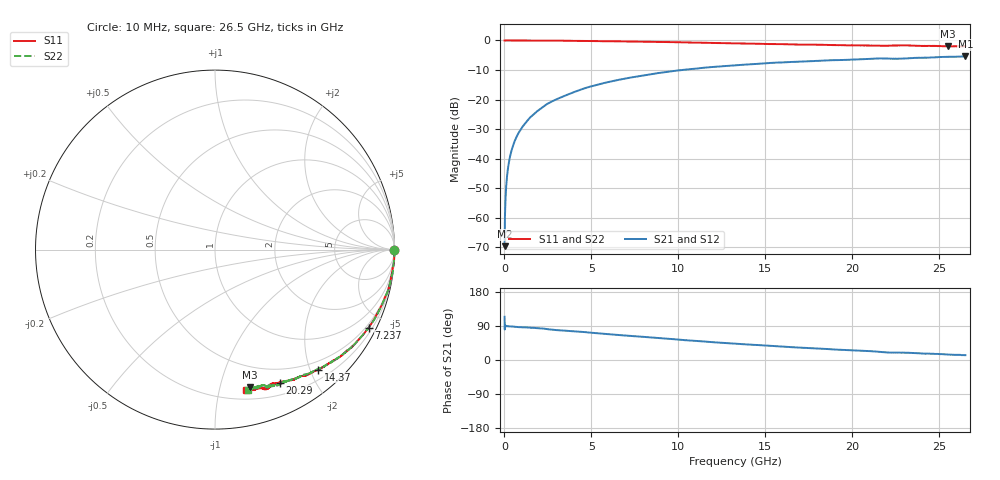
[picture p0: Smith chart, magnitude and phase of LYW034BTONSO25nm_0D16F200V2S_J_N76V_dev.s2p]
!Keysight Technologies,N5222B,MY61253708,A.15.00.15
!Date: Wednesday, June 19, 2024 09:23:10
!Correction: S11(C  2-Port  )
!S21(C  2-Port  )
!S12(C  2-Port  )
!S22(C  2-Port  )
!S2P File: Measurements: S11, S21, S12, S22:
# Hz S  RI  R 50
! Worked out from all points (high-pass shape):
!   2651 points, 10 MHz to 26.5 GHz, reference 50 ohm
!   highest |S21| = -5.37 dB at 26.5 GHz (marker M1); lowest = -69.6 dB at 10 MHz (marker M2)
!   |S21| within 3 dB of the highest: 13.29 GHz to end of sweep
!   lowest |S11| = -2.0 dB at 25.5 GHz (marker M3), VSWR 8.56, Z = 15.1 - j61.9 ohm
!   |S11| at or under -10 dB: nowhere
!   |S22| runs from -2.0 to 0.0 dB; largest |S21 - S12| = 0.0069
!   S11 on the Smith chart (normalised r, x): 10 MHz: open; 7.237 GHz: 0.37, -4.15; 14.37 GHz: 0.35, -2.13; 20.29 GHz: 0.33, -1.55; 26.5 GHz: 0.28, -1.21
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1e7  0.9985 -0.00236  -0.000135 0.000303  -7.8e-05 0.000374  0.9985 -0.000965
6.997736e7  1 -0.00522  4.85e-05 0.00232  2.86e-05 0.00239  0.9996 -0.00487
1.599434e8  0.9999 -0.0116  7.82e-05 0.00541  6.25e-05 0.00544  0.9996 -0.0109
1.999283e8  0.9999 -0.0139  0.000105 0.00675  0.000105 0.00679  0.9996 -0.0133
2.599057e8  0.9995 -0.0182  0.000181 0.00873  0.000149 0.00883  0.9995 -0.0174
3.598679e8  0.9993 -0.025  0.000289 0.0121  0.000314 0.0123  0.9993 -0.0244
4.898189e8  0.9988 -0.0337  0.000554 0.0165  0.000533 0.0166  0.9989 -0.0328
6.497585e8  0.9984 -0.0442  0.000954 0.0218  0.000948 0.022  0.9983 -0.0433
8.49683e8  0.9979 -0.0575  0.00163 0.0284  0.00163 0.0287  0.9977 -0.0574
1.469449e9  0.9902 -0.1005  0.00397 0.0494  0.00404 0.0498  0.9928 -0.0969
2.349117e9  0.9809 -0.1551  0.0107 0.0797  0.0109 0.0804  0.9821 -0.1558
3.208792e9  0.969 -0.2105  0.022 0.1057  0.0223 0.1064  0.9688 -0.2103
4.428332e9  0.9402 -0.284  0.0399 0.1437  0.0404 0.1447  0.9414 -0.2821
7.237272e9  0.8563 -0.4342  0.1044 0.2107  0.106 0.2115  0.8568 -0.434
8.846664e9  0.7968 -0.5059  0.149 0.2383  0.1507 0.239  0.7972 -0.5052
1.3255e10  0.6187 -0.6438  0.2775 0.2603  0.28 0.26  0.6206 -0.6431
1.437458e10  0.5758 -0.668  0.3067 0.256  0.3089 0.2559  0.5771 -0.6647
1.767333e10  0.4455 -0.7203  0.383 0.2304  0.3868 0.2286  0.454 -0.7182
2.029234e10  0.3607 -0.7429  0.4328 0.2021  0.4361 0.1994  0.3737 -0.7441
2.209166e10  0.3109 -0.7507  0.4643 0.1671  0.4662 0.1638  0.3029 -0.7567
2.550038e10  0.1929 -0.7669  0.5121 0.1299  0.5137 0.1295  0.2116 -0.7696
2.65e10  0.1743 -0.7816  0.5256 0.119  0.525 0.1148  0.1854 -0.7794
